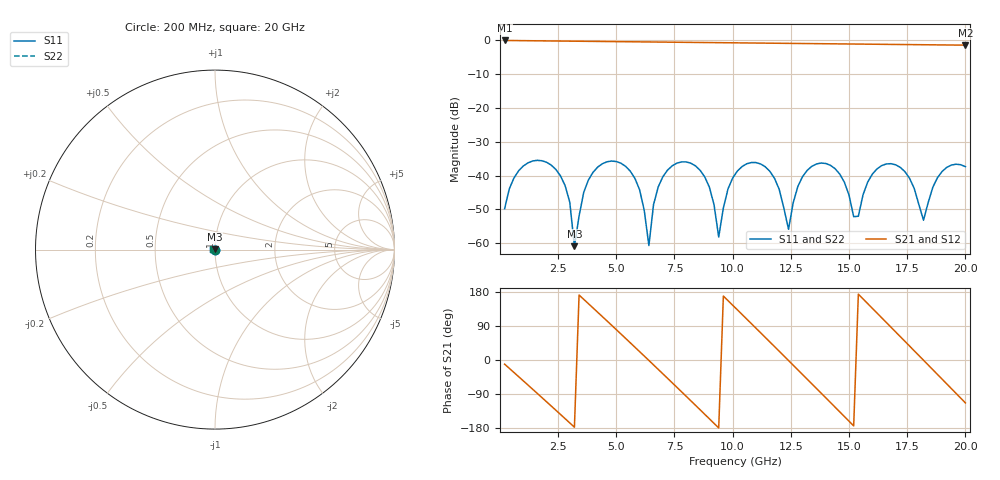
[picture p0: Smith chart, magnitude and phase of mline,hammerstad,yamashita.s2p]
# HZ S RI R 50
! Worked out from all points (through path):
!   100 points, 200 MHz to 20 GHz, reference 50 ohm
!   highest |S21| = -0.02 dB at 200 MHz (marker M1); lowest = -1.4 dB at 20 GHz (marker M2)
!   group delay of S21, straight-line fit = 167 ps
!   lowest |S11| = -60.9 dB at 3.2 GHz (marker M3), VSWR 1.00, Z = 50 + j0.0764 ohm
!   |S11| at or under -10 dB: start of sweep to end of sweep
!   |S22| runs from -60.9 to -35.5 dB; largest |S21 - S12| = 0
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2e8  -0.000648 -0.00317  0.9798 -0.1894  0.9798 -0.1894  -0.000648 -0.00317
2e9  -0.0148 0.00533  -0.338 -0.9229  -0.338 -0.9229  -0.0148 0.00533
2.8e9  -0.00335 0.00628  -0.8835 -0.416  -0.8835 -0.416  -0.00335 0.00628
3.2e9  -0.000485 0.000764  -0.9723 -0.046  -0.9723 -0.046  -0.000485 0.000764
3.6e9  -0.00237 -0.00515  -0.9122 0.3303  -0.9122 0.3303  -0.00237 -0.00515
5e9  -0.0159 0.00266  0.165 0.9448  0.165 0.9448  -0.0159 0.00266
6e9  -0.00301 0.0054  0.8813 0.3587  0.8813 0.3587  -0.00301 0.0054
6.4e9  -0.000865 -0.000325  0.9482 -0.0201  0.9482 -0.0201  -0.000865 -0.000325
6.8e9  -0.00357 -0.00579  0.8591 -0.3946  0.8591 -0.3946  -0.00357 -0.00579
8.2e9  -0.0147 0.00428  -0.2807 -0.8915  -0.2807 -0.8915  -0.0147 0.00428
9e9  -0.00376 0.0056  -0.8435 -0.3887  -0.8435 -0.3887  -0.00376 0.0056
9.4e9  -0.00122 0.000188  -0.9257 -0.0119  -0.9257 -0.0119  -0.00122 0.000188
1.02e10  -0.00917 -0.0072  -0.6215 0.678  -0.6215 0.678  -0.00917 -0.0072
1.16e10  -0.00917 0.00704  0.6143 0.6707  0.6143 0.6707  -0.00917 0.00704
1.24e10  -0.00157 -0.000333  0.9035 -0.0216  0.9035 -0.0216  -0.00157 -0.000333
1.34e10  -0.0125 -0.00559  0.4105 -0.797  0.4105 -0.797  -0.0125 -0.00559
1.46e10  -0.00814 0.00673  -0.6467 -0.6084  -0.6467 -0.6084  -0.00814 0.00673
1.52e10  -0.00202 0.00142  -0.8787 -0.0942  -0.8787 -0.0942  -0.00202 0.00142
1.68e10  -0.015 0.000736  0.0494 0.871  0.0494 0.871  -0.015 0.000736
1.82e10  -0.00219 -0.000124  0.8627 -0.00842  0.8627 -0.00842  -0.00219 -0.000124
1.84e10  -0.00285 -0.00279  0.8391 -0.1946  0.8391 -0.1946  -0.00285 -0.00279
2e10  -0.0128 0.00448  -0.3351 -0.7815  -0.3351 -0.7815  -0.0128 0.00448
